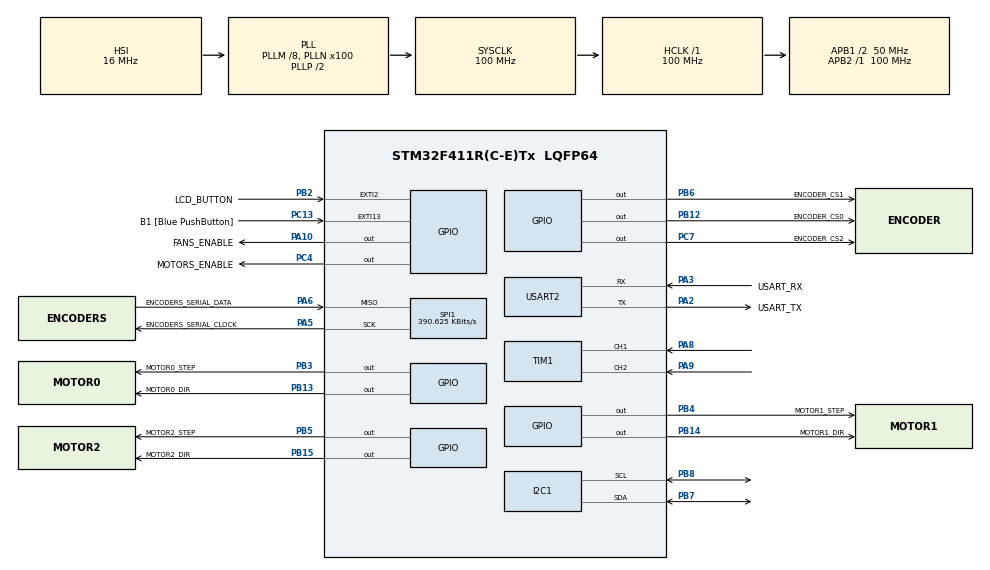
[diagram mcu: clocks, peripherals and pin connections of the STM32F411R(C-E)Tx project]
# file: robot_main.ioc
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Mcu.Family=STM32F4
Mcu.Name=STM32F411R(C-E)Tx
Mcu.Package=LQFP64
NVIC.EXTI15_10_IRQn=true\:0\:0\:false\:false\:true\:true
NVIC.PriorityGroup=NVIC_PRIORITYGROUP_0
NVIC.TIM2_IRQn=true\:0\:0\:true\:false\:true\:true
NVIC.TIM3_IRQn=true\:0\:0\:false\:false\:true\:true
NVIC.TIM4_IRQn=true\:0\:0\:false\:false\:true\:true
NVIC.TIM5_IRQn=true\:0\:0\:false\:false\:true\:true
NVIC.USART2_IRQn=true\:0\:0\:false\:false\:true\:true
PA10.GPIO_Label=FANS_ENABLE
PA10.Signal=GPIO_Output
PA13.GPIO_Label=TMS
PA13.Signal=SYS_JTMS-SWDIO
PA14.GPIO_Label=TCK
PA14.Signal=SYS_JTCK-SWCLK
PA2.GPIO_Label=USART_TX
PA2.Mode=Asynchronous
PA2.Signal=USART2_TX
PA3.GPIO_Label=USART_RX
PA3.Mode=Asynchronous
PA3.Signal=USART2_RX
PA5.GPIO_Label=ENCODERS_SERIAL_CLOCK
PA5.Mode=RX_Only_Simplex_Unidirect_Master
PA5.Signal=SPI1_SCK
PA6.GPIO_Label=ENCODERS_SERIAL_DATA
PA6.Mode=RX_Only_Simplex_Unidirect_Master
PA6.Signal=SPI1_MISO
PA8.Signal=S_TIM1_CH1
PA9.Signal=S_TIM1_CH2
PB12.GPIO_Label=ENCODER_CS0
PB12.PinState=GPIO_PIN_SET
PB12.Signal=GPIO_Output
PB13.GPIO_Label=MOTOR0_DIR
PB13.Signal=GPIO_Output
PB14.GPIO_Label=MOTOR1_DIR
PB14.Signal=GPIO_Output
PB15.GPIO_Label=MOTOR2_DIR
PB15.Signal=GPIO_Output
PB2.GPIO_Label=LCD_BUTTON
PB2.Signal=GPXTI2
PB3.GPIO_Label=MOTOR0_STEP
PB3.Signal=GPIO_Output
PB4.GPIO_Label=MOTOR1_STEP
PB4.Signal=GPIO_Output
PB5.GPIO_Label=MOTOR2_STEP
PB5.Signal=GPIO_Output
PB6.GPIO_Label=ENCODER_CS1
PB6.PinState=GPIO_PIN_SET
PB6.Signal=GPIO_Output
PB7.Mode=I2C
PB7.Signal=I2C1_SDA
PB8.Mode=I2C
PB8.Signal=I2C1_SCL
PC13-ANTI_TAMP.GPIO_Label=B1 [Blue PushButton]
PC13-ANTI_TAMP.GPIO_ModeDefaultEXTI=GPIO_MODE_IT_FALLING
PC13-ANTI_TAMP.Signal=GPXTI13
PC14-OSC32_IN.Signal=RCC_OSC32_IN
PC15-OSC32_OUT.Signal=RCC_OSC32_OUT
PC4.GPIO_Label=MOTORS_ENABLE
PC4.PinState=GPIO_PIN_RESET
PC4.Signal=GPIO_Output
PC7.GPIO_Label=ENCODER_CS2
PC7.PinState=GPIO_PIN_SET
PC7.Signal=GPIO_Output
PH0\ -\ OSC_IN.Signal=RCC_OSC_IN
PH1\ -\ OSC_OUT.Signal=RCC_OSC_OUT
ProjectManager.HeapSize=0x200
ProjectManager.StackSize=0x400
ProjectManager.TargetToolchain=SW4STM32
RCC.48MHZClocksFreq_Value=50000000
RCC.AHBFreq_Value=100000000
RCC.APB1CLKDivider=RCC_HCLK_DIV2
RCC.APB1Freq_Value=50000000
RCC.APB1TimFreq_Value=100000000
RCC.APB2Freq_Value=100000000
RCC.APB2TimFreq_Value=100000000
RCC.CortexFreq_Value=100000000
RCC.FLatency-AdvancedSettings=FLASH_LATENCY_3
RCC.HCLKFreq_Value=100000000
RCC.HSE_VALUE=8000000
RCC.HSI_VALUE=16000000
RCC.LSE_VALUE=32768
RCC.PLLM=8
RCC.PLLN=100
RCC.SYSCLKFreq_VALUE=100000000
RCC.SYSCLKSource=RCC_SYSCLKSOURCE_PLLCLK
RCC.VCOOutputFreq_Value=200000000
SH.S_TIM1_CH1.0=TIM1_CH1,Encoder_Interface
SH.S_TIM1_CH2.0=TIM1_CH2,Encoder_Interface
SPI1.BaudRatePrescaler=SPI_BAUDRATEPRESCALER_256
SPI1.CLKPhase=SPI_PHASE_2EDGE
SPI1.CLKPolarity=SPI_POLARITY_HIGH
SPI1.CalculateBaudRate=390.625 KBits/s
SPI1.DataSize=SPI_DATASIZE_16BIT
SPI1.Direction=SPI_DIRECTION_2LINES_RXONLY
SPI1.Mode=SPI_MODE_MASTER
SPI1.VirtualType=VM_MASTER
TIM1.IC1Filter=5
TIM1.IC2Filter=5
TIM2.Period=999
TIM2.Prescaler=0
TIM3.Period=999
TIM3.Prescaler=9999
TIM4.Period=999
TIM4.Prescaler=9999
TIM5.Period=999
TIM5.Prescaler=9999
USART2.VirtualMode=VM_ASYNC
VP_TIM2_VS_ClockSourceINT.Mode=Internal
VP_TIM3_VS_ClockSourceINT.Mode=Internal
VP_TIM4_VS_ClockSourceINT.Mode=Internal
VP_TIM5_VS_ClockSourceINT.Mode=Internal
board=NUCLEO-F411RE

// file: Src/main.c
/**
  ******************************************************************************
  * @file           : main.c
  * @brief          : Main program body
  ******************************************************************************
  ** This notice applies to any and all portions of this file
  * that are not between comment pairs USER CODE BEGIN and
  * USER CODE END. Other portions of this file, whether
  * inserted by the user or by software development tools
  * are owned by their respective copyright owners.
  *
  * COPYRIGHT(c) 2018 STMicroelectronics
  *
  * Redistribution and use in source and binary forms, with or without modification,
  * are permitted provided that the following conditions are met:
  *   1. Redistributions of source code must retain the above copyright notice,
  *      this list of conditions and the following disclaimer.
  *   2. Redistributions in binary form must reproduce the above copyright notice,
  *      this list of conditions and the following disclaimer in the documentation
  *      and/or other materials provided with the distribution.
  *   3. Neither the name of STMicroelectronics nor the names of its contributors
  *      may be used to endorse or promote products derived from this software
  *      without specific prior written permission.
  *
  * THIS SOFTWARE IS PROVIDED BY THE COPYRIGHT HOLDERS AND CONTRIBUTORS "AS IS"
  * AND ANY EXPRESS OR IMPLIED WARRANTIES, INCLUDING, BUT NOT LIMITED TO, THE
  * IMPLIED WARRANTIES OF MERCHANTABILITY AND FITNESS FOR A PARTICULAR PURPOSE ARE
  * DISCLAIMED. IN NO EVENT SHALL THE COPYRIGHT HOLDER OR CONTRIBUTORS BE LIABLE
  * FOR ANY DIRECT, INDIRECT, INCIDENTAL, SPECIAL, EXEMPLARY, OR CONSEQUENTIAL
  * DAMAGES (INCLUDING, BUT NOT LIMITED TO, PROCUREMENT OF SUBSTITUTE GOODS OR
  * SERVICES; LOSS OF USE, DATA, OR PROFITS; OR BUSINESS INTERRUPTION) HOWEVER
  * CAUSED AND ON ANY THEORY OF LIABILITY, WHETHER IN CONTRACT, STRICT LIABILITY,
  * OR TORT (INCLUDING NEGLIGENCE OR OTHERWISE) ARISING IN ANY WAY OUT OF THE USE
  * OF THIS SOFTWARE, EVEN IF ADVISED OF THE POSSIBILITY OF SUCH DAMAGE.
  *
  ******************************************************************************
  */
#include "main.h"
#include "stm32f4xx_hal.h"
#include "i2c.h"
#include "spi.h"
#include "tim.h"
#include "usart.h"
#include "gpio.h"

/* USER CODE BEGIN PV */
/* Private variables ---------------------------------------------------------*/

/* USER CODE END PV */

void SystemClock_Config(void);

/* USER CODE BEGIN PFP */
/* Private function prototypes -----------------------------------------------*/

/* USER CODE END PFP */

int main(void)
{

  /* MCU Configuration----------------------------------------------------------*/

  /* Reset of all peripherals, Initializes the Flash interface and the Systick. */
  HAL_Init();

  /* Configure the system clock */
  SystemClock_Config();

  /* Initialize all configured peripherals */
  MX_GPIO_Init();
  MX_I2C1_Init();
  MX_SPI1_Init();
  MX_TIM1_Init();
  MX_USART2_UART_Init();
  MX_TIM2_Init();
  MX_TIM3_Init();
  MX_TIM4_Init();
  MX_TIM5_Init();
  /* USER CODE BEGIN 2 */

  HAL_GPIO_WritePin(MOTORS_ENABLE_GPIO_Port,MOTORS_ENABLE_Pin, GPIO_PIN_SET);
  HAL_GPIO_WritePin(MOTOR0_STEP_GPIO_Port,MOTOR0_STEP_Pin, GPIO_PIN_RESET);
  HAL_GPIO_WritePin(MOTOR1_STEP_GPIO_Port,MOTOR1_STEP_Pin, GPIO_PIN_RESET);
  HAL_GPIO_WritePin(MOTOR2_STEP_GPIO_Port,MOTOR2_STEP_Pin, GPIO_PIN_RESET);

  HAL_GPIO_WritePin(ENCODERS_SERIAL_CLOCK_GPIO_Port,ENCODERS_SERIAL_CLOCK_Pin,GPIO_PIN_RESET);

  s_motorsInit();
  m_motionControllerInit();
  t_taskManagerInit();
  c_communicationInit();

  s_enableAll();
  m_enableAll();

  HAL_TIM_Base_Start_IT(&htim2);
  HAL_TIM_Base_Start_IT(&htim3);
  HAL_TIM_Base_Start_IT(&htim4);
  HAL_TIM_Base_Start_IT(&htim5);

  /* USER CODE END 2 */

  /* Infinite loop */
  while (1)
  {

  }

}

void SystemClock_Config(void)
{

  RCC_OscInitTypeDef RCC_OscInitStruct;
  RCC_ClkInitTypeDef RCC_ClkInitStruct;

    /**Configure the main internal regulator output voltage
    */
  __HAL_RCC_PWR_CLK_ENABLE();

  __HAL_PWR_VOLTAGESCALING_CONFIG(PWR_REGULATOR_VOLTAGE_SCALE1);

    /**Initializes the CPU, AHB and APB busses clocks
    */
  RCC_OscInitStruct.OscillatorType = RCC_OSCILLATORTYPE_HSI;
  RCC_OscInitStruct.HSIState = RCC_HSI_ON;
  RCC_OscInitStruct.HSICalibrationValue = 16;
  RCC_OscInitStruct.PLL.PLLState = RCC_PLL_ON;
  RCC_OscInitStruct.PLL.PLLSource = RCC_PLLSOURCE_HSI;
  RCC_OscInitStruct.PLL.PLLM = 8;
  RCC_OscInitStruct.PLL.PLLN = 100;
  RCC_OscInitStruct.PLL.PLLP = RCC_PLLP_DIV2;
  RCC_OscInitStruct.PLL.PLLQ = 4;
  if (HAL_RCC_OscConfig(&RCC_OscInitStruct) != HAL_OK)
  {
    _Error_Handler(__FILE__, __LINE__);
  }

    /**Initializes the CPU, AHB and APB busses clocks
    */
  RCC_ClkInitStruct.ClockType = RCC_CLOCKTYPE_HCLK|RCC_CLOCKTYPE_SYSCLK
                              |RCC_CLOCKTYPE_PCLK1|RCC_CLOCKTYPE_PCLK2;
  RCC_ClkInitStruct.SYSCLKSource = RCC_SYSCLKSOURCE_PLLCLK;
  RCC_ClkInitStruct.AHBCLKDivider = RCC_SYSCLK_DIV1;
  RCC_ClkInitStruct.APB1CLKDivider = RCC_HCLK_DIV2;
  RCC_ClkInitStruct.APB2CLKDivider = RCC_HCLK_DIV1;

  if (HAL_RCC_ClockConfig(&RCC_ClkInitStruct, FLASH_LATENCY_3) != HAL_OK)
  {
    _Error_Handler(__FILE__, __LINE__);
  }

    /**Configure the Systick interrupt time
    */
  HAL_SYSTICK_Config(HAL_RCC_GetHCLKFreq()/1000);

    /**Configure the Systick
    */
  HAL_SYSTICK_CLKSourceConfig(SYSTICK_CLKSOURCE_HCLK);

  /* SysTick_IRQn interrupt configuration */
  HAL_NVIC_SetPriority(SysTick_IRQn, 0, 0);
}

void _Error_Handler(char *file, int line)
{
  while(1)
  {
  }
}

/************************ (C) COPYRIGHT STMicroelectronics *****END OF FILE****/
